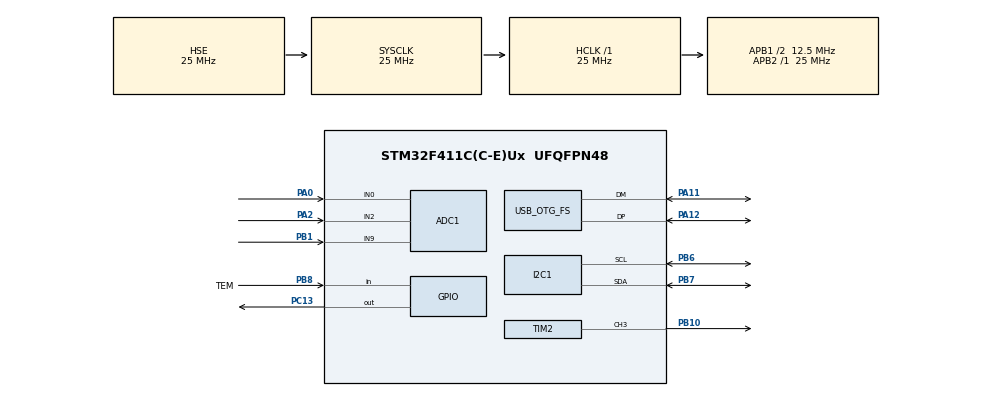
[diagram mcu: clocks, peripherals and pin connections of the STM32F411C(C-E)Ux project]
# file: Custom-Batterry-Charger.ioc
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ADC1.Channel-0\#ChannelRegularConversion=ADC_CHANNEL_9
ADC1.NbrOfConversionFlag=1
ADC1.Rank-0\#ChannelRegularConversion=1
ADC1.SamplingTime-0\#ChannelRegularConversion=ADC_SAMPLETIME_3CYCLES
ADC1.master=1
Mcu.Family=STM32F4
Mcu.Name=STM32F411C(C-E)Ux
Mcu.Package=UFQFPN48
NVIC.OTG_FS_IRQn=true\:0\:0\:false\:false\:true\:true\:true\:true
NVIC.PriorityGroup=NVIC_PRIORITYGROUP_4
PA0-WKUP.Signal=ADCx_IN0
PA11.Mode=Device_Only
PA11.Signal=USB_OTG_FS_DM
PA12.Mode=Device_Only
PA12.Signal=USB_OTG_FS_DP
PA2.Signal=ADCx_IN2
PB1.Signal=ADCx_IN9
PB10.Signal=S_TIM2_CH3
PB6.Mode=I2C
PB6.Signal=I2C1_SCL
PB7.Mode=I2C
PB7.Signal=I2C1_SDA
PB8.GPIO_Label=TEM
PB8.Signal=GPIO_Input
PC13-ANTI_TAMP.Signal=GPIO_Output
PH0\ -\ OSC_IN.Mode=HSE-External-Oscillator
PH0\ -\ OSC_IN.Signal=RCC_OSC_IN
PH1\ -\ OSC_OUT.Mode=HSE-External-Oscillator
PH1\ -\ OSC_OUT.Signal=RCC_OSC_OUT
ProjectManager.HeapSize=0x200
ProjectManager.StackSize=0x400
ProjectManager.TargetToolchain=STM32CubeIDE
RCC.48MHZClocksFreq_Value=47916666.666666664
RCC.AHBFreq_Value=25000000
RCC.APB1CLKDivider=RCC_HCLK_DIV2
RCC.APB1Freq_Value=12500000
RCC.APB1TimFreq_Value=25000000
RCC.APB2Freq_Value=25000000
RCC.APB2TimFreq_Value=25000000
RCC.CortexFreq_Value=25000000
RCC.HCLKFreq_Value=25000000
RCC.HSE_VALUE=25000000
RCC.HSI_VALUE=16000000
RCC.LSE_VALUE=32768
RCC.PLLM=12
RCC.PLLN=92
RCC.SYSCLKFreq_VALUE=25000000
RCC.SYSCLKSource=RCC_SYSCLKSOURCE_HSE
RCC.VCOOutputFreq_Value=191666666.66666666
SH.ADCx_IN0.0=ADC1_IN0,IN0
SH.ADCx_IN2.0=ADC1_IN2,IN2
SH.ADCx_IN9.0=ADC1_IN9,IN9
SH.S_TIM2_CH3.0=TIM2_CH3,PWM Generation3 CH3
TIM1.Period=4095
TIM10.Prescaler=25-1
TIM2.Channel-PWM\ Generation3\ CH3=TIM_CHANNEL_3
TIM2.Period=4095
USB_DEVICE.CLASS_NAME_FS=CDC
USB_DEVICE.MANUFACTURER_STRING=Batterry_Charger
USB_DEVICE.VirtualMode=Cdc
USB_DEVICE.VirtualModeFS=Cdc_FS
USB_OTG_FS.VirtualMode=Device_Only
VP_TIM10_VS_ClockSourceINT.Mode=Enable_Timer
VP_TIM1_VS_ClockSourceINT.Mode=Internal
VP_TIM2_VS_ClockSourceINT.Mode=Internal
VP_USB_DEVICE_VS_USB_DEVICE_CDC_FS.Mode=CDC_FS
board=custom

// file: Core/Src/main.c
/* USER CODE BEGIN Header */
/**
  ******************************************************************************
  * @file           : main.c
  * @brief          : Main program body
  ******************************************************************************
  * @attention
  *
  * Copyright (c) 2025 STMicroelectronics.
  * All rights reserved.
  *
  * This software is licensed under terms that can be found in the LICENSE file
  * in the root directory of this software component.
  * If no LICENSE file comes with this software, it is provided AS-IS.
  *
  ******************************************************************************
  */
/* USER CODE END Header */
#include "main.h"
#include "usb_device.h"

/* USER CODE BEGIN Includes */

#include "ssd1306.h"
#include "ssd1306_fonts.h"
#include "ssd1306_tests.h"
#include "liquidcrystal_i2c.h"
#include "DS18B20.hpp"

/* USER CODE END Includes */

ADC_HandleTypeDef hadc1;

I2C_HandleTypeDef hi2c1;

TIM_HandleTypeDef htim1;
TIM_HandleTypeDef htim2;
TIM_HandleTypeDef htim10;

void SystemClock_Config(void);
static void MX_GPIO_Init(void);
static void MX_ADC1_Init(void);
static void MX_I2C1_Init(void);
static void MX_TIM1_Init(void);
static void MX_TIM2_Init(void);
static void MX_TIM10_Init(void);

/* USER CODE BEGIN 0 */

float pulseWidth = 0.3f; // Example: Set pulse width to 50% of the period
float v_out = 0.0f; // Variable to hold the output voltage
float v_in = 0.0f; // Variable to hold the input voltage
float i_out = 0.0f; // Variable to hold the output current

float targetVoltage = 3.3f; // Target voltage for the PWM output
float targetCurrent = 0.5f; // Target current for the PWM output
float kp = 0.1f; // Proportional gain for voltage control
float ki = 0.01f; // Integral gain for voltage control
int output=1;
int feedback=0;

int readADC(uint32_t pin){
  ADC_ChannelConfTypeDef sConfig = {0};
  sConfig.Channel = pin;
  sConfig.Rank = 1;
  sConfig.SamplingTime = ADC_SAMPLETIME_3CYCLES;

  if (HAL_ADC_ConfigChannel(&hadc1, &sConfig) != HAL_OK)
  {
    Error_Handler();
  }

  HAL_ADC_Start(&hadc1);
  if (HAL_ADC_PollForConversion(&hadc1, HAL_MAX_DELAY) != HAL_OK)
  {
    Error_Handler();
  }
  HAL_ADC_Stop(&hadc1);

  return HAL_ADC_GetValue(&hadc1);
}

void pwm(float pulseWidth) {
  TIM_OC_InitTypeDef sConfigOC = {0};
  sConfigOC.OCMode = TIM_OCMODE_PWM1;
  sConfigOC.Pulse = pulseWidth * 4095; // Scale pulse width to match timer resolution
  sConfigOC.OCPolarity = TIM_OCPOLARITY_HIGH;
  sConfigOC.OCFastMode = TIM_OCFAST_DISABLE;

  if (HAL_TIM_PWM_ConfigChannel(&htim2, &sConfigOC, TIM_CHANNEL_3) != HAL_OK)
  {
    Error_Handler();
  }

  HAL_TIM_PWM_Start(&htim2, TIM_CHANNEL_3);
}

void toggle(void) {
  HAL_GPIO_TogglePin(GPIOC, GPIO_PIN_13);
}

/* USER CODE END 0 */

int main(void)
{

  /* MCU Configuration--------------------------------------------------------*/

  /* Reset of all peripherals, Initializes the Flash interface and the Systick. */
  HAL_Init();

  /* Configure the system clock */
  SystemClock_Config();

  /* Initialize all configured peripherals */
  MX_GPIO_Init();
  MX_ADC1_Init();
  MX_I2C1_Init();
  MX_TIM1_Init();
  MX_TIM2_Init();
  MX_USB_DEVICE_Init();
  MX_TIM10_Init();
  /* USER CODE BEGIN 2 */

  toggle(); // Initial toggle to indicate start
  toggle();

  HD44780_Init(2);

  /* Clear buffer */
  HD44780_Clear();

  /* Hide characters */
  HD44780_NoDisplay();
  HD44780_Cursor();
  HD44780_SetCursor(0,0);
  HD44780_PrintStr("Booting...");
  HD44780_PrintSpecialChar(0);

  /* Show characters */
  HD44780_Display();
  HAL_Delay(1000);

  /* USER CODE END 2 */

  /* Infinite loop */
  /* USER CODE BEGIN WHILE */
  while (1)
  {
    v_out = readADC(ADC_CHANNEL_0) *5.7* (3.3f / 4095.0f); // Read ADC value and convert to voltage

    v_in = readADC(ADC_CHANNEL_9) *5.7* (3.3f / 4095.0f); // Read ADC value and convert to voltage

    i_out = readADC(ADC_CHANNEL_2) *(10000.0/22)* (3.3f / 4095.0f); // Read ADC value and convert to current

    static uint32_t last_lcd_update = 0;
    if (HAL_GetTick() - last_lcd_update > 1000) {
      last_lcd_update = HAL_GetTick();
      char lcd_line1[17], lcd_line2[17];
      snprintf(lcd_line1, sizeof(lcd_line1), "V: %.2fV", v_out);
      snprintf(lcd_line2, sizeof(lcd_line2), "I: %.2fmA", i_out);
      HD44780_Clear();
      HD44780_SetCursor(0, 0);
      HD44780_PrintStr(lcd_line1);
      HD44780_SetCursor(0, 1);
      HD44780_PrintStr(lcd_line2);
    }

    // Simple low-pass filter for each reading
    static float v_out_filt = 0.0f;
    static float v_in_filt = 0.0f;
    static float i_out_filt = 0.0f;
    const float alpha = 0.5f; // Smoothing factor (0 < alpha < 1)

    v_out_filt = alpha * v_out + (1.0f - alpha) * v_out_filt;
    v_in_filt = alpha * v_in + (1.0f - alpha) * v_in_filt;
    i_out_filt = alpha * i_out + (1.0f - alpha) * i_out_filt;

    // Use filtered values for control and feedback
    v_out = v_out_filt;
    v_in = v_in_filt;
    i_out = i_out_filt;

    char vin_str[32];

    if(feedback){
      feedback=0;
      snprintf(vin_str, sizeof(vin_str), "VOUT:%.2f,IOUT:%.2f,VIN:%.2f\r\n", v_out, i_out, v_in);
      CDC_Transmit_FS((uint8_t*)vin_str, strlen(vin_str));
    }

    // Voltage control loop
    float voltageError = targetVoltage - v_out; // Calculate voltage error
    float voltageControl = kp * voltageError; // Proportional control for voltage

    // pulseWidth += voltageControl; // Adjust pulse width based on voltage control
    // if (pulseWidth < 0.0f) {
    //   pulseWidth = 0.0f; // Ensure pulse width does not go below 0
    // } else if (pulseWidth > 1.0f) {
    //   pulseWidth = 1.0f; // Ensure pulse width does not exceed 1
    // }

    // Current control loop
    float currentError = targetCurrent - i_out; // Calculate current error
    float currentControl = ki * currentError; // Integral control for current

    if(i_out > targetCurrent)
      pulseWidth += currentControl; // Adjust pulse width based on current control
    else
      pulseWidth += voltageControl; // Adjust pulse width based on voltage control

    if (pulseWidth < 0.0f) {
      pulseWidth = 0.0f; // Ensure pulse width does not go below 0
    } else if (pulseWidth > 0.99f) {
      pulseWidth = 0.99f; // Ensure pulse width does not exceed 1
    }

    if(output)
      pwm(pulseWidth); // Set PWM output based on pulse width
    else
      pwm(0);
    /* USER CODE END WHILE */

  }
}

void SystemClock_Config(void)
{
  RCC_OscInitTypeDef RCC_OscInitStruct = {0};
  RCC_ClkInitTypeDef RCC_ClkInitStruct = {0};

  /** Configure the main internal regulator output voltage
  */
  __HAL_RCC_PWR_CLK_ENABLE();
  __HAL_PWR_VOLTAGESCALING_CONFIG(PWR_REGULATOR_VOLTAGE_SCALE1);

  /** Initializes the RCC Oscillators according to the specified parameters
  * in the RCC_OscInitTypeDef structure.
  */
  RCC_OscInitStruct.OscillatorType = RCC_OSCILLATORTYPE_HSE;
  RCC_OscInitStruct.HSEState = RCC_HSE_ON;
  RCC_OscInitStruct.PLL.PLLState = RCC_PLL_ON;
  RCC_OscInitStruct.PLL.PLLSource = RCC_PLLSOURCE_HSE;
  RCC_OscInitStruct.PLL.PLLM = 12;
  RCC_OscInitStruct.PLL.PLLN = 92;
  RCC_OscInitStruct.PLL.PLLP = RCC_PLLP_DIV2;
  RCC_OscInitStruct.PLL.PLLQ = 4;
  if (HAL_RCC_OscConfig(&RCC_OscInitStruct) != HAL_OK)
  {
    Error_Handler();
  }

  /** Initializes the CPU, AHB and APB buses clocks
  */
  RCC_ClkInitStruct.ClockType = RCC_CLOCKTYPE_HCLK|RCC_CLOCKTYPE_SYSCLK
                              |RCC_CLOCKTYPE_PCLK1|RCC_CLOCKTYPE_PCLK2;
  RCC_ClkInitStruct.SYSCLKSource = RCC_SYSCLKSOURCE_HSE;
  RCC_ClkInitStruct.AHBCLKDivider = RCC_SYSCLK_DIV1;
  RCC_ClkInitStruct.APB1CLKDivider = RCC_HCLK_DIV2;
  RCC_ClkInitStruct.APB2CLKDivider = RCC_HCLK_DIV1;

  if (HAL_RCC_ClockConfig(&RCC_ClkInitStruct, FLASH_LATENCY_0) != HAL_OK)
  {
    Error_Handler();
  }
}

static void MX_ADC1_Init(void)
{

  ADC_ChannelConfTypeDef sConfig = {0};

  /** Configure the global features of the ADC (Clock, Resolution, Data Alignment and number of conversion)
  */
  hadc1.Instance = ADC1;
  hadc1.Init.ClockPrescaler = ADC_CLOCK_SYNC_PCLK_DIV2;
  hadc1.Init.Resolution = ADC_RESOLUTION_12B;
  hadc1.Init.ScanConvMode = DISABLE;
  hadc1.Init.ContinuousConvMode = DISABLE;
  hadc1.Init.DiscontinuousConvMode = DISABLE;
  hadc1.Init.ExternalTrigConvEdge = ADC_EXTERNALTRIGCONVEDGE_NONE;
  hadc1.Init.ExternalTrigConv = ADC_SOFTWARE_START;
  hadc1.Init.DataAlign = ADC_DATAALIGN_RIGHT;
  hadc1.Init.NbrOfConversion = 1;
  hadc1.Init.DMAContinuousRequests = DISABLE;
  hadc1.Init.EOCSelection = ADC_EOC_SINGLE_CONV;
  if (HAL_ADC_Init(&hadc1) != HAL_OK)
  {
    Error_Handler();
  }

  /** Configure for the selected ADC regular channel its corresponding rank in the sequencer and its sample time.
  */
  sConfig.Channel = ADC_CHANNEL_9;
  sConfig.Rank = 1;
  sConfig.SamplingTime = ADC_SAMPLETIME_3CYCLES;
  if (HAL_ADC_ConfigChannel(&hadc1, &sConfig) != HAL_OK)
  {
    Error_Handler();
  }

}

static void MX_I2C1_Init(void)
{

  hi2c1.Instance = I2C1;
  hi2c1.Init.ClockSpeed = 100000;
  hi2c1.Init.DutyCycle = I2C_DUTYCYCLE_2;
  hi2c1.Init.OwnAddress1 = 0;
  hi2c1.Init.AddressingMode = I2C_ADDRESSINGMODE_7BIT;
  hi2c1.Init.DualAddressMode = I2C_DUALADDRESS_DISABLE;
  hi2c1.Init.OwnAddress2 = 0;
  hi2c1.Init.GeneralCallMode = I2C_GENERALCALL_DISABLE;
  hi2c1.Init.NoStretchMode = I2C_NOSTRETCH_DISABLE;
  if (HAL_I2C_Init(&hi2c1) != HAL_OK)
  {
    Error_Handler();
  }

}

static void MX_TIM1_Init(void)
{

  TIM_ClockConfigTypeDef sClockSourceConfig = {0};
  TIM_MasterConfigTypeDef sMasterConfig = {0};

  htim1.Instance = TIM1;
  htim1.Init.Prescaler = 0;
  htim1.Init.CounterMode = TIM_COUNTERMODE_UP;
  htim1.Init.Period = 4095;
  htim1.Init.ClockDivision = TIM_CLOCKDIVISION_DIV1;
  htim1.Init.RepetitionCounter = 0;
  htim1.Init.AutoReloadPreload = TIM_AUTORELOAD_PRELOAD_DISABLE;
  if (HAL_TIM_Base_Init(&htim1) != HAL_OK)
  {
    Error_Handler();
  }
  sClockSourceConfig.ClockSource = TIM_CLOCKSOURCE_INTERNAL;
  if (HAL_TIM_ConfigClockSource(&htim1, &sClockSourceConfig) != HAL_OK)
  {
    Error_Handler();
  }
  sMasterConfig.MasterOutputTrigger = TIM_TRGO_RESET;
  sMasterConfig.MasterSlaveMode = TIM_MASTERSLAVEMODE_DISABLE;
  if (HAL_TIMEx_MasterConfigSynchronization(&htim1, &sMasterConfig) != HAL_OK)
  {
    Error_Handler();
  }

}

static void MX_TIM2_Init(void)
{

  TIM_ClockConfigTypeDef sClockSourceConfig = {0};
  TIM_MasterConfigTypeDef sMasterConfig = {0};
  TIM_OC_InitTypeDef sConfigOC = {0};

  htim2.Instance = TIM2;
  htim2.Init.Prescaler = 0;
  htim2.Init.CounterMode = TIM_COUNTERMODE_UP;
  htim2.Init.Period = 4095;
  htim2.Init.ClockDivision = TIM_CLOCKDIVISION_DIV1;
  htim2.Init.AutoReloadPreload = TIM_AUTORELOAD_PRELOAD_DISABLE;
  if (HAL_TIM_Base_Init(&htim2) != HAL_OK)
  {
    Error_Handler();
  }
  sClockSourceConfig.ClockSource = TIM_CLOCKSOURCE_INTERNAL;
  if (HAL_TIM_ConfigClockSource(&htim2, &sClockSourceConfig) != HAL_OK)
  {
    Error_Handler();
  }
  if (HAL_TIM_PWM_Init(&htim2) != HAL_OK)
  {
    Error_Handler();
  }
  sMasterConfig.MasterOutputTrigger = TIM_TRGO_RESET;
  sMasterConfig.MasterSlaveMode = TIM_MASTERSLAVEMODE_DISABLE;
  if (HAL_TIMEx_MasterConfigSynchronization(&htim2, &sMasterConfig) != HAL_OK)
  {
    Error_Handler();
  }
  sConfigOC.OCMode = TIM_OCMODE_PWM1;
  sConfigOC.Pulse = 0;
  sConfigOC.OCPolarity = TIM_OCPOLARITY_HIGH;
  sConfigOC.OCFastMode = TIM_OCFAST_DISABLE;
  if (HAL_TIM_PWM_ConfigChannel(&htim2, &sConfigOC, TIM_CHANNEL_3) != HAL_OK)
  {
    Error_Handler();
  }
  HAL_TIM_MspPostInit(&htim2);

}

static void MX_TIM10_Init(void)
{

  htim10.Instance = TIM10;
  htim10.Init.Prescaler = 25-1;
  htim10.Init.CounterMode = TIM_COUNTERMODE_UP;
  htim10.Init.Period = 65535;
  htim10.Init.ClockDivision = TIM_CLOCKDIVISION_DIV1;
  htim10.Init.AutoReloadPreload = TIM_AUTORELOAD_PRELOAD_DISABLE;
  if (HAL_TIM_Base_Init(&htim10) != HAL_OK)
  {
    Error_Handler();
  }

}

static void MX_GPIO_Init(void)
{
  GPIO_InitTypeDef GPIO_InitStruct = {0};

  /* GPIO Ports Clock Enable */
  __HAL_RCC_GPIOC_CLK_ENABLE();
  __HAL_RCC_GPIOH_CLK_ENABLE();
  __HAL_RCC_GPIOA_CLK_ENABLE();
  __HAL_RCC_GPIOB_CLK_ENABLE();

  /*Configure GPIO pin Output Level */
  HAL_GPIO_WritePin(GPIOC, GPIO_PIN_13, GPIO_PIN_RESET);

  /*Configure GPIO pin : PC13 */
  GPIO_InitStruct.Pin = GPIO_PIN_13;
  GPIO_InitStruct.Mode = GPIO_MODE_OUTPUT_PP;
  GPIO_InitStruct.Pull = GPIO_NOPULL;
  GPIO_InitStruct.Speed = GPIO_SPEED_FREQ_LOW;
  HAL_GPIO_Init(GPIOC, &GPIO_InitStruct);

  /*Configure GPIO pin : TEM_Pin */
  GPIO_InitStruct.Pin = TEM_Pin;
  GPIO_InitStruct.Mode = GPIO_MODE_INPUT;
  GPIO_InitStruct.Pull = GPIO_NOPULL;
  HAL_GPIO_Init(TEM_GPIO_Port, &GPIO_InitStruct);

}

void Error_Handler(void)
{
  __disable_irq();
  while (1)
  {
  }
}
